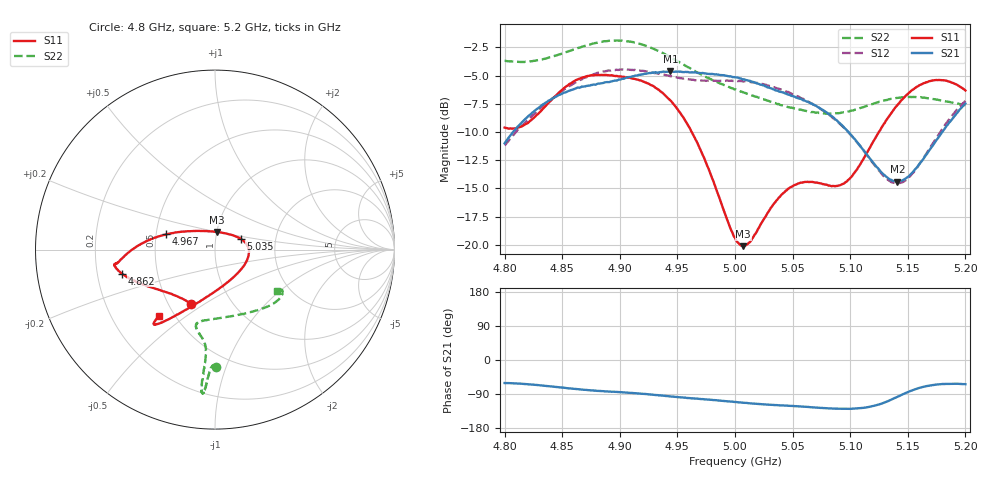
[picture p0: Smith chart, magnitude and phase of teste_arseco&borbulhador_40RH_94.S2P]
! Network Analyzer HP8722D
! Hewlett-Packard
! Data name: Linha & Wilkinson
! Saver's name: Rodrigo Anjos
! Comments: Teste da utilização de aquisição
! continua pelo VNA HP8722D
! Time and date: 15/4/2025 17:08
!  Frequency  S11  S21  S12  S22
# HZ  S  MA R 50
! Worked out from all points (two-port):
!   401 points, 4.8 GHz to 5.2 GHz, reference 50 ohm
!   highest |S21| = -4.63 dB at 4.944 GHz (marker M1); lowest = -14.4 dB at 5.141 GHz (marker M2)
!   |S21| within 3 dB of the highest: 4.832 GHz to 5.069 GHz (236.9 MHz wide, 4.78 % of centre); 5.198625 GHz to end of sweep
!   lowest |S11| = -20.1 dB at 5.007 GHz (marker M3), VSWR 1.22, Z = 50.1 + j9.91 ohm
!   |S11| at or under -10 dB: 4.962 GHz to 5.125 GHz (162.6 MHz wide, 3.22 % of centre)
!   |S22| runs from -8.4 to -1.9 dB; largest |S21 - S12| = 0.88
!   S11 on the Smith chart (normalised r, x): 4.8 GHz: 0.65, -0.44; 4.862 GHz: 0.31, -0.12; 4.967 GHz: 0.57, +0.10; 5.035 GHz: 1.32, +0.16; 5.2 GHz: 0.41, -0.40
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4.8e9  0.3306 -113.6  0.2816 -60.8  0.2756 -175.0  0.6537 -89.5
4.819e9  0.3443 -133.4  0.3652 -63.6  0.3523 -173.2  0.6479 -91.2
4.862e9  0.5369 -165.5  0.4935 -76.7  0.5259 -176.4  0.7406 -93.6
4.867e9  0.549 -167.5  0.5023 -78.0  0.5408 -177.3  0.754 -93.7
4.9e9  0.5573 -172.0  0.5393 -84.8  0.598 176.0  0.8029 -95.1
4.934e9  0.4854 -177.9  0.5801 -93.3  0.5732 172.0  0.7198 -95.5
4.944e9  0.4351 177.6  0.5871 -96.1  0.5581 172.0  0.6785 -95.2
4.967e9  0.2851 162.6  0.5782 -102.0  0.5351 174.0  0.5815 -94.8
5e9  0.1073 107.4  0.5528 -110.7  0.5343 176.5  0.4872 -99.2
5.007e9  0.09855 83.7  0.5412 -112.6  0.5289 176.4  0.4735 -100.9
5.014e9  0.1044 61.8  0.5293 -114.5  0.5255 176.3  0.4612 -102.4
5.035e9  0.1545 23.1  0.4837 -118.9  0.4967 175.2  0.4244 -103.9
5.05e9  0.1816 7.2  0.4569 -121.4  0.464 174.4  0.4039 -100.2
5.067e9  0.1899 -11.2  0.4209 -124.8  0.4221 174.0  0.3874 -91.7
5.086e9  0.182 -41.5  0.3641 -128.2  0.3624 173.8  0.3815 -77.7
5.097e9  0.1906 -64.7  0.3216 -129.1  0.3212 174.5  0.3884 -68.6
5.134e9  0.3729 -116.0  0.1953 -107.0  0.1919 -159.6  0.4415 -43.4
5.141e9  0.4167 -119.9  0.1902 -97.2  0.1868 -148.7  0.4474 -40.2
5.153e9  0.481 -124.8  0.2064 -80.9  0.2043 -130.1  0.4515 -36.0
5.171e9  0.5336 -128.7  0.2726 -66.4  0.2775 -112.2  0.4432 -31.7
5.184e9  0.5322 -129.8  0.3379 -63.0  0.3485 -107.2  0.4312 -31.1
5.2e9  0.4827 -130.2  0.4225 -63.9  0.4344 -106.0  0.4154 -33.4
